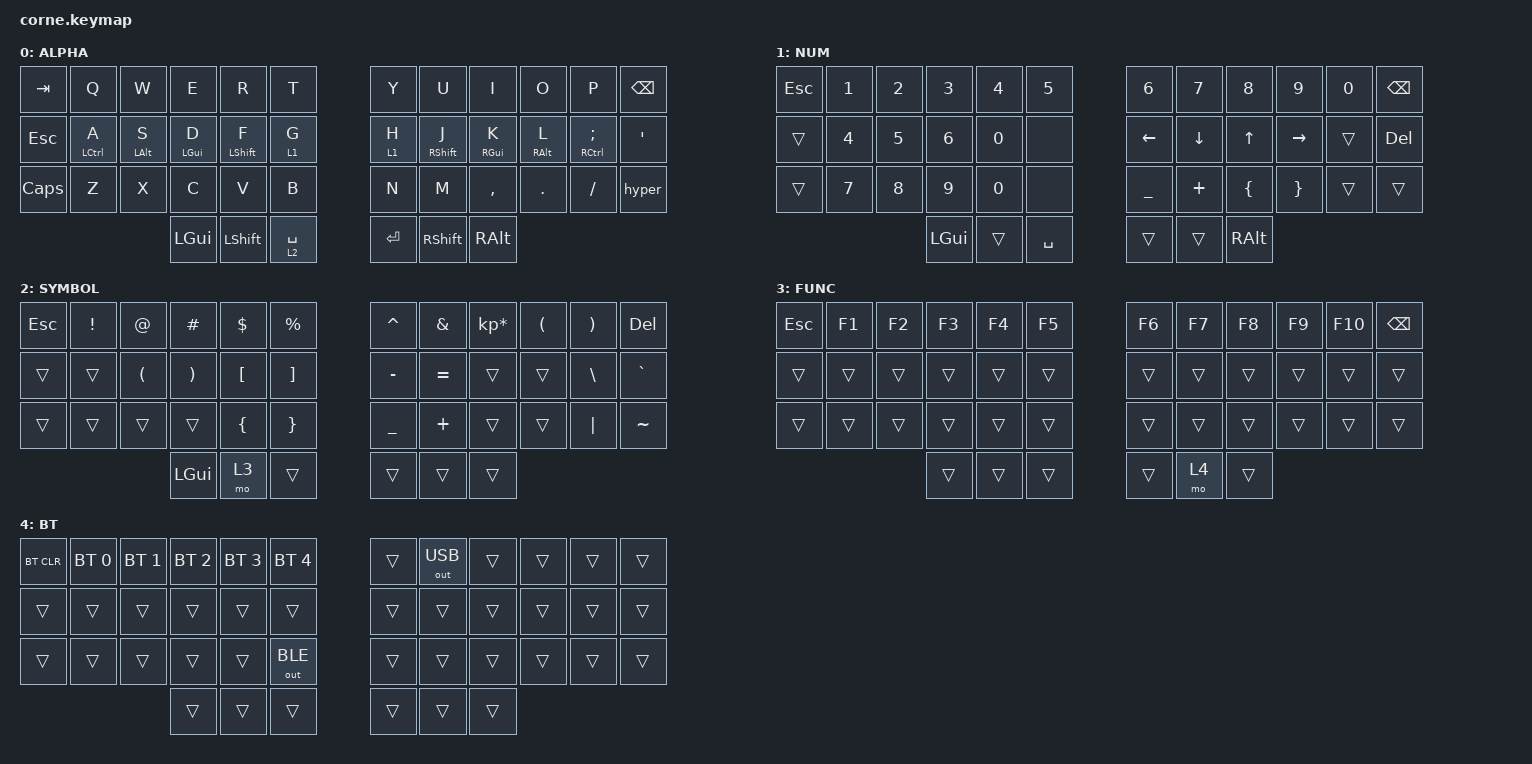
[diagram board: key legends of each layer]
/*
 * Copyright (c) 2020 The ZMK Contributors
 *
 * SPDX-License-Identifier: MIT
 */

#include <behaviors.dtsi>
#include <dt-bindings/zmk/bt.h>
#include <dt-bindings/zmk/keys.h>
#include <dt-bindings/zmk/outputs.h>

&kscan0 {
    row-gpios
        = <&pro_micro 4 (GPIO_ACTIVE_HIGH | GPIO_PULL_DOWN)>
        , <&pro_micro 5 (GPIO_ACTIVE_HIGH | GPIO_PULL_DOWN)>
        , <&gpio0 9 (GPIO_ACTIVE_HIGH | GPIO_PULL_DOWN)>
        , <&pro_micro 7 (GPIO_ACTIVE_HIGH | GPIO_PULL_DOWN)>
        ;
};

/ {
    behaviors {
        hm: homerow_mods {
            compatible = "zmk,behavior-hold-tap";
            label = "HOMEROW_MODS";
            #binding-cells = <2>;
            tapping-term-ms = <175>;
            quick-tap-ms = <150>;
            require-prior-idle-ms = <175>;
            flavor = "tap-preferred";
            bindings = <&kp>, <&kp>;
        };

        lt_spc: layer_tap_space {
            compatible = "zmk,behavior-hold-tap";
            label = "LAYER_TAP_SPACE";
            #binding-cells = <2>;
            tapping-term-ms = <250>;
            quick-tap-ms = <250>;
            flavor = "tap-preferred";
            bindings = <&mo>, <&kp>;
        };

        lt_ret: layer_tap_return {
            compatible = "zmk,behavior-hold-tap";
            label = "LAYER_TAP_RETURN";
            #binding-cells = <2>;
            tapping-term-ms = <150>;
            quick-tap-ms = <150>;
            flavor = "hold-preferred";
            bindings = <&mo>, <&kp>;
        };

        esc_hold: escape_hold {
            compatible = "zmk,behavior-hold-tap";
            label = "ESCAPE_HOLD";
            #binding-cells = <2>;
            tapping-term-ms = <200>;
            quick-tap-ms = <200>;
            flavor = "tap-preferred";
            bindings = <&kp>, <&kp>;
        };
    };

    macros {
        hyper: hyper {
            compatible = "zmk,behavior-macro";
            label = "HYPER";
            #binding-cells = <0>;
            bindings = <&macro_press &kp LSHFT &kp LCTRL &kp LALT &kp LGUI>,
                       <&macro_pause_for_release>,
                       <&macro_release &kp LSHFT &kp LCTRL &kp LALT &kp LGUI>;
        };
    };

    combos {
        compatible = "zmk,combos";
        combo_caps_word {
            timeout-ms = <50>;
            key-positions = <16 19>;
            bindings = <&caps_word>;
        };
    };

    keymap {
        compatible = "zmk,keymap";

        default_layer {
            bindings = <
          &kp TAB       &kp Q       &kp W       &kp E        &kp R      &kp T      &kp Y        &kp U        &kp I       &kp O       &kp P   &kp BSPC
  &kp ESCAPE  &hm LCTRL A  &hm LALT S  &hm LGUI D  &hm LSHFT F      &lt_spc 1 G      &lt_spc 1 H  &hm RSHFT J  &hm RGUI K  &hm RALT L  &hm RCTRL SEMI    &kp SQT
         &kp CAPS       &kp Z       &kp X       &kp C        &kp V      &kp B      &kp N        &kp M    &kp COMMA     &kp DOT    &kp FSLH     &hyper
                                              &kp LGUI   &kp LSHFT  &lt_spc 2 SPACE    &kp RET   &kp RSHFT     &kp RALT
            >;

            display-name = "ALPHA";
        };

        layer_lower {
            bindings = <
&kp ESC  &kp N1        &kp N2    &kp N3  &kp N4     &kp N5            &kp N6    &kp N7          &kp N8           &kp N9  &kp N0  &kp BACKSPACE
 &trans  &kp N4        &kp N5    &kp N6  &kp N0      &none          &kp LEFT  &kp DOWN          &kp UP        &kp RIGHT  &trans        &kp DEL
 &trans  &kp N7  &kp NUMBER_8    &kp N9  &kp N0      &none    &kp UNDERSCORE  &kp PLUS  &kp LEFT_BRACE  &kp RIGHT_BRACE  &trans         &trans
                               &kp LGUI  &trans     &kp SPACE            &trans  &trans        &kp RALT
            >;

            display-name = "NUM";
        };

        layer_raise {
            bindings = <
&kp ESC  &kp EXCL  &kp AT   &kp HASH  &kp DLLR  &kp PRCNT    &kp CARET   &kp AMPS   &kp KP_MULTIPLY  &kp LPAR &kp RPAR  &kp DEL
 &trans    &trans  &kp LPAR &kp RPAR  &kp LBKT  &kp RBKT     &kp MINUS   &kp EQUAL  &trans           &trans   &kp BSLH  &kp GRAVE
 &trans    &trans  &trans   &trans    &kp LBRC  &kp RBRC     &kp UNDER   &kp PLUS   &trans           &trans   &kp PIPE  &kp TILDE
                           &kp LGUI     &mo 3     &trans         &trans     &trans           &trans
            >;

            display-name = "SYMBOL";
        };

        layer_upper {
            bindings = <
&kp ESCAPE  &kp F1  &kp F2  &kp F3  &kp F4  &kp F5    &kp F6  &kp F7  &kp F8  &kp F9  &kp F10  &kp BACKSPACE
    &trans  &trans  &trans  &trans  &trans  &trans    &trans  &trans  &trans  &trans   &trans         &trans
    &trans  &trans  &trans  &trans  &trans  &trans    &trans  &trans  &trans  &trans   &trans         &trans
                            &trans  &trans  &trans    &trans   &mo 4  &trans
            >;

            display-name = "FUNC";
        };

        bluetooth {
            bindings = <
&bt BT_CLR  &bt BT_SEL 0  &bt BT_SEL 1  &bt BT_SEL 2  &bt BT_SEL 3  &bt BT_SEL 4    &trans  &out OUT_USB  &trans  &trans  &trans  &trans
    &trans  &trans        &trans        &trans        &trans        &trans          &trans  &trans        &trans  &trans  &trans  &trans
    &trans  &trans        &trans        &trans        &trans        &out OUT_BLE    &trans  &trans        &trans  &trans  &trans  &trans
                                              &trans        &trans        &trans    &trans  &trans        &trans
            >;

            display-name = "BT";
        };
    };
};
